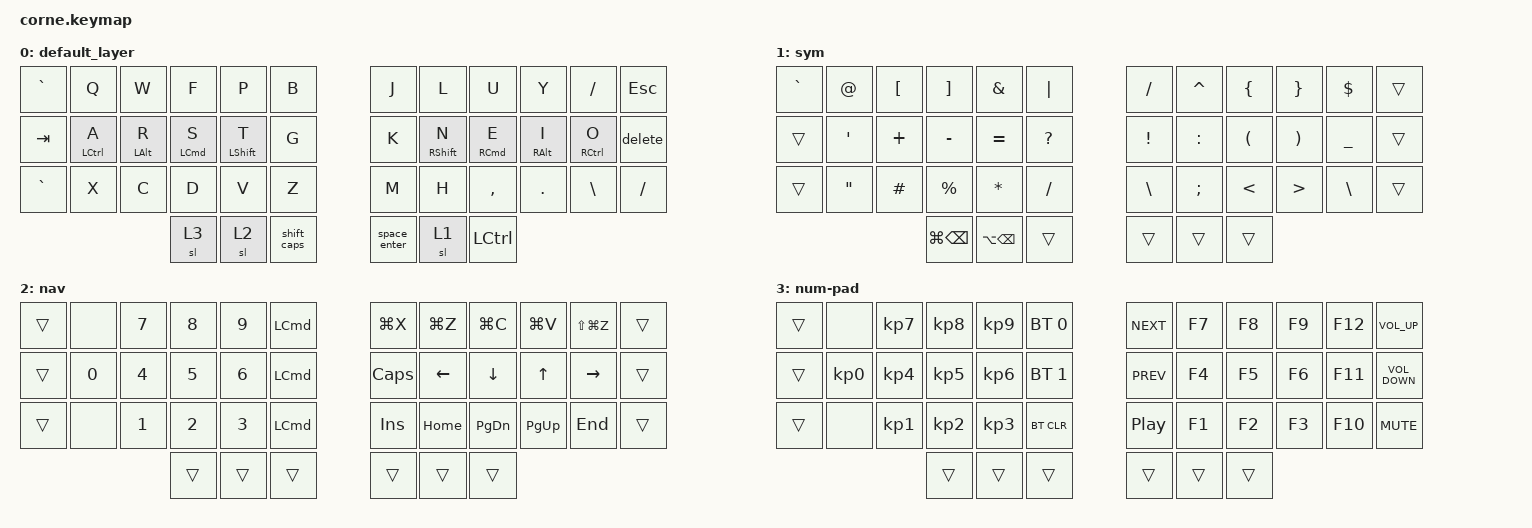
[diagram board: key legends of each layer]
/*
 * Copyright (c) 2020 The ZMK Contributors
 *
 * SPDX-License-Identifier: MIT
 */

#include <dt-bindings/zmk/mouse.h>

#define ZMK_POINTING_DEFAULT_MOVE_VAL 800
#define ZMK_POINTING_DEFAULT_SCRL_VAL 15

#include <behaviors.dtsi>
#include <dt-bindings/zmk/bt.h>
#include <dt-bindings/zmk/keys.h>

&mmv {
    x-input-code = <INPUT_REL_X>;
    y-input-code = <INPUT_REL_Y>;
    time-to-max-speed-ms = <0>;
    acceleration-exponent = <1>;
};

&led_strip {
    chain-length = <0>;

    // chain-length = <27>;
    // 21 backlight + 6 glowlight
};

/ {
    behaviors {
        hrm_left: hrm_left {
            compatible = "zmk,behavior-hold-tap";
            label = "HRM_LEFT";
            bindings = <&kp>, <&kp>;

            #binding-cells = <2>;
            tapping-term-ms = <200>;
            quick-tap-ms = <175>;
            require-prior-idle-ms = <180>;
            flavor = "balanced";
            hold-trigger-on-release;
            hold-trigger-key-positions = <6 18 39 30 40 41 31 19 7 8 20 32 33 21 9 10 22 34 35 23 11>;
        };

        ltc: ltc {
            compatible = "zmk,behavior-hold-tap";
            label = "layer tap custom";
            bindings = <&sl>, <&kp>;

            #binding-cells = <2>;
            tapping-term-ms = <180>;
            flavor = "balanced";
        };

        space_enter: space_enter {
            compatible = "zmk,behavior-mod-morph";
            label = "SPACE_ENTER";
            bindings = <&kp SPACE>, <&kp ENTER>;

            #binding-cells = <0>;
            mods = <(MOD_LSFT)>;
        };

        delete: delete {
            compatible = "zmk,behavior-mod-morph";
            label = "DELETE";
            bindings = <&kp BACKSPACE>, <&kp DELETE>;

            #binding-cells = <0>;
            mods = <(MOD_LSFT)>;
        };

        shift_caps: shift_caps {
            compatible = "zmk,behavior-tap-dance";
            label = "SHIFT_CAPS";
            #binding-cells = <0>;
            bindings = <&kp LEFT_SHIFT>, <&caps_word>;
        };

        hrm_right: hrm_right {
            compatible = "zmk,behavior-hold-tap";
            label = "HRM_RIGHT";
            bindings = <&kp>, <&kp>;

            #binding-cells = <2>;
            hold-trigger-key-positions = <0 12 24 25 13 1 2 14 26 27 15 3 16 4 17 29 5 28 36 37 38>;
            hold-trigger-on-release;
            tapping-term-ms = <200>;
            quick-tap-ms = <185>;
            require-prior-idle-ms = <180>;
            flavor = "balanced";
        };
    };

    combos { compatible = "zmk,combos"; };

    keymap {
        compatible = "zmk,keymap";

        default_layer {
            // -----------------------------------------------------------------------------------------
            // |  TAB |  Q  |  W  |  E  |  R  |  T  |   |  Y  |  U   |  I  |  O  |  P  | BSPC |
            // | CTRL |  A  |  S  |  D  |  F  |  G  |   |  H  |  J   |  K  |  L  |  ;  |  '   |
            // | SHFT |  Z  |  X  |  C  |  V  |  B  |   |  N  |  M   |  ,  |  .  |  /  | ESC  |
            //                    | GUI | LWR | SPC |   | ENT | RSE  | ALT |

            bindings = <
&kp GRAVE  &kp Q                     &kp W                 &kp F                     &kp P                   &kp B          &kp J         &kp L                     &kp U                       &kp Y                   &kp SLASH                   &kp ESCAPE
&kp TAB    &hrm_left LEFT_CONTROL A  &hrm_left LEFT_ALT R  &hrm_left LEFT_COMMAND S  &hrm_left LEFT_SHIFT T  &kp G          &kp K         &hrm_right RIGHT_SHIFT N  &hrm_right RIGHT_COMMAND E  &hrm_right RIGHT_ALT I  &hrm_right RIGHT_CONTROL O  &delete
&kp GRAVE  &kp X                     &kp C                 &kp D                     &kp V                   &kp Z          &kp M         &kp H                     &kp COMMA                   &kp DOT                 &kp BACKSLASH               &kp SLASH
                                                           &sl 3                     &sl 2                   &shift_caps    &space_enter  &sl 1                     &kp LEFT_CONTROL
            >;
        };

        sym {
            // -----------------------------------------------------------------------------------------
            // |  TAB |  1  |  2  |  3  |  4  |  5  |   |  6  |  7  |  8  |  9  |  0  | BSPC |
            // | BTCLR| BT1 | BT2 | BT3 | BT4 | BT5 |   | LFT | DWN |  UP | RGT |     |      |
            // | SHFT |     |     |     |     |     |   |     |     |     |     |     |      |
            //                    | GUI |     | SPC |   | ENT |     | ALT |

            bindings = <
&kp GRAVE  &kp AT             &kp LEFT_BRACKET  &kp RIGHT_BRACKET  &kp AMPS           &kp PIPE        &kp SLASH        &kp CARET      &kp LEFT_BRACE        &kp RIGHT_BRACE        &kp DOLLAR      &trans
&trans     &kp SQT            &kp PLUS          &kp MINUS          &kp EQUAL          &kp QUESTION    &kp EXCLAMATION  &kp COLON      &kp LEFT_PARENTHESIS  &kp RIGHT_PARENTHESIS  &kp UNDERSCORE  &trans
&trans     &kp DOUBLE_QUOTES  &kp HASH          &kp PERCENT        &kp ASTERISK       &kp SLASH       &kp BACKSLASH    &kp SEMICOLON  &kp LESS_THAN         &kp GREATER_THAN       &kp BACKSLASH   &trans
                                                &kp LG(BACKSPACE)  &kp LA(BACKSPACE)  &trans          &trans           &trans         &trans
            >;
        };

        nav {
            bindings = <
&trans  &none         &kp N7        &kp N8        &kp N9        &kp LEFT_COMMAND    &kp LG(X)   &kp LG(Z)  &kp LG(C)       &kp LG(V)     &kp LS(LG(Z))    &trans
&trans  &kp NUMBER_0  &kp NUMBER_4  &kp N5        &kp NUMBER_6  &kp LEFT_COMMAND    &kp CAPS    &kp LEFT   &kp DOWN_ARROW  &kp UP_ARROW  &kp RIGHT_ARROW  &trans
&trans  &none         &kp NUMBER_1  &kp NUMBER_2  &kp NUMBER_3  &kp LEFT_COMMAND    &kp INSERT  &kp HOME   &kp PAGE_DOWN   &kp PAGE_UP   &kp END          &trans
                                    &trans        &trans        &trans              &trans      &trans     &trans
            >;
        };

        num-pad {
            bindings = <
&trans  &none            &kp KP_NUMBER_7  &kp KP_NUMBER_8  &kp KP_NUMBER_9  &bt BT_SEL 0    &kp C_NEXT        &kp F7  &kp F8  &kp F9  &kp F12  &kp C_VOLUME_UP
&trans  &kp KP_NUMBER_0  &kp KP_NUMBER_4  &kp KP_NUMBER_5  &kp KP_NUMBER_6  &bt BT_SEL 1    &kp C_PREV        &kp F4  &kp F5  &kp F6  &kp F11  &kp C_VOLUME_DOWN
&trans  &none            &kp KP_NUMBER_1  &kp KP_NUMBER_2  &kp KP_NUMBER_3  &bt BT_CLR      &kp C_PLAY_PAUSE  &kp F1  &kp F2  &kp F3  &kp F10  &kp C_MUTE
                                          &trans           &trans           &trans          &trans            &trans  &trans
            >;
        };
    };
};
